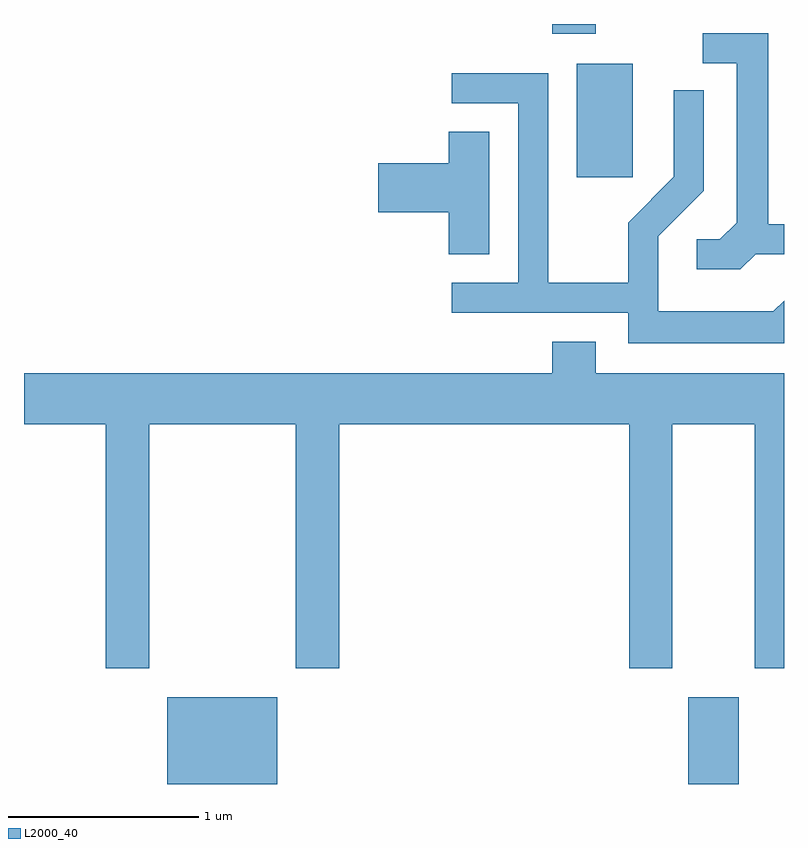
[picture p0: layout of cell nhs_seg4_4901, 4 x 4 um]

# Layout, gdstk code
import gdstk
lib = gdstk.Library(unit=1e-6, precision=1e-09)
def R(c, l, rs):  # rectangles x0, y0, x1, y1
    for r in rs: c.add(gdstk.rectangle(r[:2], r[2:], *l))
def P(c, l, *ps):  # polygons
    for p in ps: c.add(gdstk.Polygon(p, *l))
L2000_40 = (2000, 40)

nhs_seg4_4901 = lib.new_cell('nhs_seg4_4901')
R(nhs_seg4_4901, L2000_40, [(330.366,1263.982,330.944,1264.439), (333.106,1263.982,333.374,1264.439), (332.521,1267.176,332.814,1267.774), (332.391,1267.931,332.619,1267.982)])
P(nhs_seg4_4901, L2000_40, [(333.462,1266.771),(333.611,1266.771),(333.611,1266.929),(333.529,1266.929),(333.529,1267.934),(333.183,1267.934),(333.183,1267.776),(333.361,1267.776),(333.361,1266.937),(333.274,1266.849),(333.153,1266.849),(333.153,1266.691),(333.382,1266.691)],
  [(333.611,1266.526),(333.554,1266.469),(332.949,1266.469),(332.949,1266.864),(333.189,1267.104),(333.189,1267.633),(333.031,1267.633),(333.031,1267.177),(332.791,1266.937),(332.791,1266.619),(332.369,1266.619),(332.369,1267.724),(331.863,1267.724),(331.863,1267.566),(332.211,1267.566),(332.211,1266.619),(331.863,1266.619),(331.863,1266.461),(332.791,1266.461),(332.791,1266.301),(333.611,1266.301)],
  [(332.059,1267.414),(331.846,1267.414),(331.846,1267.249),(331.476,1267.249),(331.476,1266.991),(331.846,1266.991),(331.846,1266.771),(332.059,1266.771)],
  [(330.269,1265.876),(331.041,1265.876),(331.041,1264.591),(331.269,1264.591),(331.269,1265.876),(332.796,1265.876),(332.796,1264.591),(333.024,1264.591),(333.024,1265.876),(333.456,1265.876),(333.456,1264.591),(333.611,1264.591),(333.611,1266.144),(332.619,1266.144),(332.619,1266.309),(332.391,1266.309),(332.391,1266.144),(329.611,1266.144),(329.611,1265.876),(330.041,1265.876),(330.041,1264.591),(330.269,1264.591)])

lib.write_gds('nhs_seg4_4901.gds')
